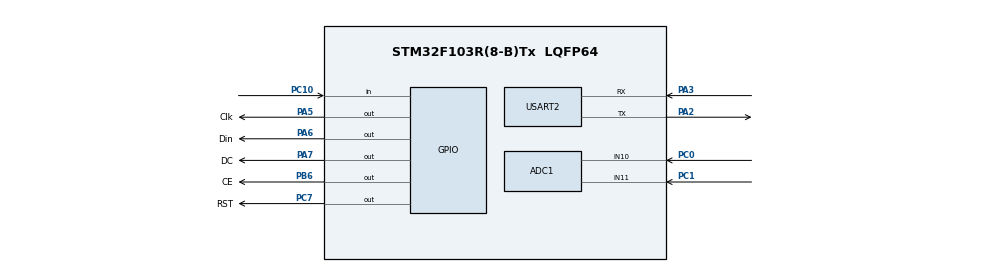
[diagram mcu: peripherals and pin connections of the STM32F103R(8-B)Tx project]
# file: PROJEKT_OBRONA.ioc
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ADC1.Channel-0\#ChannelRegularConversion=ADC_CHANNEL_10
ADC1.Channel-1\#ChannelRegularConversion=ADC_CHANNEL_11
ADC1.ExternalTrigConv=ADC_EXTERNALTRIGCONV_T3_TRGO
ADC1.NbrOfConversion=2
ADC1.NbrOfConversionFlag=1
ADC1.Rank-0\#ChannelRegularConversion=1
ADC1.Rank-1\#ChannelRegularConversion=2
ADC1.SamplingTime-0\#ChannelRegularConversion=ADC_SAMPLETIME_239CYCLES_5
ADC1.SamplingTime-1\#ChannelRegularConversion=ADC_SAMPLETIME_239CYCLES_5
ADC1.master=1
Dma.ADC1.0.Direction=DMA_PERIPH_TO_MEMORY
Dma.ADC1.0.Instance=DMA1_Channel1
Dma.ADC1.0.MemDataAlignment=DMA_MDATAALIGN_HALFWORD
Dma.ADC1.0.MemInc=DMA_MINC_ENABLE
Dma.ADC1.0.Mode=DMA_CIRCULAR
Dma.ADC1.0.PeriphDataAlignment=DMA_PDATAALIGN_HALFWORD
Dma.ADC1.0.PeriphInc=DMA_PINC_DISABLE
Dma.ADC1.0.Priority=DMA_PRIORITY_LOW
Dma.Request0=ADC1
Mcu.Family=STM32F1
Mcu.Name=STM32F103R(8-B)Tx
Mcu.Package=LQFP64
NVIC.DMA1_Channel1_IRQn=true\:0\:0\:false\:false\:true\:false\:true\:true
NVIC.PriorityGroup=NVIC_PRIORITYGROUP_4
NVIC.TIM2_IRQn=true\:0\:0\:false\:false\:true\:true\:true\:true
NVIC.USART2_IRQn=true\:0\:0\:false\:false\:true\:true\:true\:true
PA2.Mode=Asynchronous
PA2.Signal=USART2_TX
PA3.Mode=Asynchronous
PA3.Signal=USART2_RX
PA5.GPIO_Label=Clk
PA5.Signal=GPIO_Output
PA6.GPIO_Label=Din
PA6.Signal=GPIO_Output
PA7.GPIO_Label=DC
PA7.Signal=GPIO_Output
PB6.GPIO_Label=CE
PB6.Signal=GPIO_Output
PC0.Signal=SharedAnalog_PC0
PC1.Signal=SharedAnalog_PC1
PC10.Signal=GPIO_Input
PC7.GPIO_Label=RST
PC7.Signal=GPIO_Output
ProjectManager.HeapSize=0x200
ProjectManager.StackSize=0x400
ProjectManager.TargetToolchain=STM32CubeIDE
RCC.APB1Freq_Value=8000000
RCC.APB2Freq_Value=8000000
SH.SharedAnalog_PC0.0=GPIO_Analog
SH.SharedAnalog_PC0.1=ADC1_IN10,IN10
SH.SharedAnalog_PC1.0=GPIO_Analog
SH.SharedAnalog_PC1.1=ADC1_IN11,IN11
TIM2.Period=49
TIM2.Prescaler=7999
TIM2.TIM_MasterOutputTrigger=TIM_TRGO_UPDATE
TIM3.Channel-PWM\ Generation1\ No\ Output=TIM_CHANNEL_1
TIM3.Period=7999
TIM3.TIM_MasterOutputTrigger=TIM_TRGO_UPDATE
USART2.VirtualMode=VM_ASYNC
VP_SYS_VS_ND.Mode=No_Debug
VP_TIM2_VS_ClockSourceINT.Mode=Internal
VP_TIM3_VS_ClockSourceINT.Mode=Internal
VP_TIM3_VS_no_output1.Mode=PWM Generation1 No Output
board=custom

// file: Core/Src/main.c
/* USER CODE BEGIN Header */
/**
  ******************************************************************************
  * @file           : main.c
  * @brief          : Main program body
  ******************************************************************************
  * @attention
  *
  * Copyright (c) 2025 STMicroelectronics.
  * All rights reserved.
  *
  * This software is licensed under terms that can be found in the LICENSE file
  * in the root directory of this software component.
  * If no LICENSE file comes with this software, it is provided AS-IS.
  *
  ******************************************************************************
  */
/* USER CODE END Header */
#include "main.h"

/* USER CODE BEGIN Includes */
#include <stdlib.h>
#include <stdbool.h>
#include <string.h>
#include <stdio.h>
#include <stdarg.h>
#include "nokia5110_LCD.h"
/* USER CODE END Includes */

/* USER CODE BEGIN PTD */
typedef struct {
    uint8_t x;
    uint8_t y;
} Point;
/* USER CODE END PTD */

/* USER CODE BEGIN PD */
#define USART_TXBUF_LEN    1512
#define USART_RXBUF_LEN    512
#define FRAME_START        '['
#define FRAME_END          ']'
#define FRAME_MAX_LENGTH   500
#define CRC_INIT           0xFFFF

#define SNAKE_MAX_LENGTH 50
#define GRID_WIDTH  84
#define GRID_HEIGHT 48
/* USER CODE END PD */

ADC_HandleTypeDef hadc1;
DMA_HandleTypeDef hdma_adc1;

TIM_HandleTypeDef htim2;
TIM_HandleTypeDef htim3;

UART_HandleTypeDef huart2;

/* USER CODE BEGIN PV */
uint8_t USART_TxBuf[USART_TXBUF_LEN];
uint8_t USART_RxBuf[USART_RXBUF_LEN];

__IO int USART_TX_Empty = 0;
__IO int USART_TX_Busy = 0;
__IO int USART_RX_Empty = 0;
__IO int USART_RX_Busy = 0;

uint16_t joystick[2];

Point snake[SNAKE_MAX_LENGTH];
uint8_t snake_length = 3;

Point food;

Point direction = {1, 0};

bool game_over = false;

volatile int16_t snakeTimer = 0;
volatile int gameTimerState = 1;

typedef enum {
    WAITING_FOR_FRAME,
    COLLECTING_FRAME,
    ESCAPING_CHARACTER
} FrameState;

/* USER CODE END PV */

void SystemClock_Config(void);
static void MX_GPIO_Init(void);
static void MX_DMA_Init(void);
static void MX_ADC1_Init(void);
static void MX_USART2_UART_Init(void);
static void MX_TIM2_Init(void);
static void MX_TIM3_Init(void);
/* USER CODE BEGIN PFP */
uint8_t USART_kbhit(void);

int8_t USART_getchar(void);

void USART_fsend(char* format, ...);

uint16_t calculate_crc(const uint8_t *data, size_t length);

uint16_t ascii_to_uint16(const uint8_t *ascii_crc);

void uint16_to_ascii_hex(uint16_t value, char *output);

uint16_t computeFrameCRC(const char *sender, const char *receiver,
                         const char *command, const char *data);

void processCommand(const char *command, char *data);

void sendResponse(const char *sender, const char *receiver,
                  const char *command, const char *data);

void handleFrame(const uint8_t *frame, size_t length);

uint8_t* getFrame(size_t *outLength);

void sendErrorResponse(const char *receiver, const char *sender, const char *errorCode);

void generate_food(void);
void handle_joystick_input(void);
void move_snake(void);
bool check_collision(Point head);
void update_display(void);
/* USER CODE END PFP */

int main(void)
{

  /* MCU Configuration--------------------------------------------------------*/

  /* Reset of all peripherals, Initializes the Flash interface and the Systick. */
  HAL_Init();

  /* Configure the system clock */
  SystemClock_Config();

  /* Initialize all configured peripherals */
  MX_GPIO_Init();
  MX_DMA_Init();
  MX_ADC1_Init();
  MX_USART2_UART_Init();
  MX_TIM2_Init();
  MX_TIM3_Init();
  /* USER CODE BEGIN 2 */
  LCD_setRST(RST_GPIO_Port, RST_Pin);
      LCD_setCE(CE_GPIO_Port,   CE_Pin);
      LCD_setDC(DC_GPIO_Port,   DC_Pin);
      LCD_setDIN(GPIOA,         Din_Pin);
      LCD_setCLK(GPIOA,         Clk_Pin);
     LCD_init();
      LCD_clrScr();

      snake_length = 3;
      game_over    = false;
      direction.x  = 1;
      direction.y  = 0;

      snake[0].x = 40; snake[0].y = 24;
      snake[1].x = 39; snake[1].y = 24;
      snake[2].x = 38; snake[2].y = 24;

      // Jedzenie
      generate_food();

  HAL_UART_Receive_IT(&huart2, &USART_RxBuf[USART_RX_Empty], 1);

  HAL_TIM_Base_Start(&htim3);

  HAL_ADC_Start_DMA(&hadc1, (uint32_t*)joystick, 2);

  snakeTimer = 10;
  /* USER CODE END 2 */

  /* Infinite loop */
  /* USER CODE BEGIN WHILE */
  while (1)
  {

	     if (snakeTimer == 0)
	     {

	       if (gameTimerState == 1 && !game_over)
	       {
	         handle_joystick_input();
	         move_snake();
	         update_display();
	       }
	       else if (game_over)
	       {

	         LCD_clrScr();

	         LCD_refreshScr();

	         game_over    = false;
	         snake_length = 3;
	         direction.x  = 1;
	         direction.y  = 0;
	         snake[0].x   = 40; snake[0].y = 24;
	         snake[1].x   = 39; snake[1].y = 24;
	         snake[2].x   = 38; snake[2].y = 24;
	         generate_food();
	       }

	       // Niezależnie czy wąż rusza się, czy pauza – ustawiamy licznik znowu na 10
	       snakeTimer = 10;
	     }
	  size_t length = 0;
	      uint8_t *frame = getFrame(&length);
	      if (frame)
	      {

	          handleFrame(frame, length);
	      }
    /* USER CODE END WHILE */

  }
}

void SystemClock_Config(void)
{
  RCC_OscInitTypeDef RCC_OscInitStruct = {0};
  RCC_ClkInitTypeDef RCC_ClkInitStruct = {0};
  RCC_PeriphCLKInitTypeDef PeriphClkInit = {0};

  /** Initializes the RCC Oscillators according to the specified parameters
  * in the RCC_OscInitTypeDef structure.
  */
  RCC_OscInitStruct.OscillatorType = RCC_OSCILLATORTYPE_HSI;
  RCC_OscInitStruct.HSIState = RCC_HSI_ON;
  RCC_OscInitStruct.HSICalibrationValue = RCC_HSICALIBRATION_DEFAULT;
  RCC_OscInitStruct.PLL.PLLState = RCC_PLL_NONE;
  if (HAL_RCC_OscConfig(&RCC_OscInitStruct) != HAL_OK)
  {
    Error_Handler();
  }

  /** Initializes the CPU, AHB and APB buses clocks
  */
  RCC_ClkInitStruct.ClockType = RCC_CLOCKTYPE_HCLK|RCC_CLOCKTYPE_SYSCLK
                              |RCC_CLOCKTYPE_PCLK1|RCC_CLOCKTYPE_PCLK2;
  RCC_ClkInitStruct.SYSCLKSource = RCC_SYSCLKSOURCE_HSI;
  RCC_ClkInitStruct.AHBCLKDivider = RCC_SYSCLK_DIV1;
  RCC_ClkInitStruct.APB1CLKDivider = RCC_HCLK_DIV1;
  RCC_ClkInitStruct.APB2CLKDivider = RCC_HCLK_DIV1;

  if (HAL_RCC_ClockConfig(&RCC_ClkInitStruct, FLASH_LATENCY_0) != HAL_OK)
  {
    Error_Handler();
  }
  PeriphClkInit.PeriphClockSelection = RCC_PERIPHCLK_ADC;
  PeriphClkInit.AdcClockSelection = RCC_ADCPCLK2_DIV2;
  if (HAL_RCCEx_PeriphCLKConfig(&PeriphClkInit) != HAL_OK)
  {
    Error_Handler();
  }
}

static void MX_ADC1_Init(void)
{

  ADC_ChannelConfTypeDef sConfig = {0};

  /** Common config
  */
  hadc1.Instance = ADC1;
  hadc1.Init.ScanConvMode = ADC_SCAN_ENABLE;
  hadc1.Init.ContinuousConvMode = DISABLE;
  hadc1.Init.DiscontinuousConvMode = DISABLE;
  hadc1.Init.ExternalTrigConv = ADC_EXTERNALTRIGCONV_T3_TRGO;
  hadc1.Init.DataAlign = ADC_DATAALIGN_RIGHT;
  hadc1.Init.NbrOfConversion = 2;
  if (HAL_ADC_Init(&hadc1) != HAL_OK)
  {
    Error_Handler();
  }

  /** Configure Regular Channel
  */
  sConfig.Channel = ADC_CHANNEL_10;
  sConfig.Rank = ADC_REGULAR_RANK_1;
  sConfig.SamplingTime = ADC_SAMPLETIME_239CYCLES_5;
  if (HAL_ADC_ConfigChannel(&hadc1, &sConfig) != HAL_OK)
  {
    Error_Handler();
  }

  /** Configure Regular Channel
  */
  sConfig.Channel = ADC_CHANNEL_11;
  sConfig.Rank = ADC_REGULAR_RANK_2;
  if (HAL_ADC_ConfigChannel(&hadc1, &sConfig) != HAL_OK)
  {
    Error_Handler();
  }

}

static void MX_TIM2_Init(void)
{

  TIM_ClockConfigTypeDef sClockSourceConfig = {0};
  TIM_MasterConfigTypeDef sMasterConfig = {0};

  htim2.Instance = TIM2;
  htim2.Init.Prescaler = 7999;
  htim2.Init.CounterMode = TIM_COUNTERMODE_UP;
  htim2.Init.Period = 49;
  htim2.Init.ClockDivision = TIM_CLOCKDIVISION_DIV1;
  htim2.Init.AutoReloadPreload = TIM_AUTORELOAD_PRELOAD_DISABLE;
  if (HAL_TIM_Base_Init(&htim2) != HAL_OK)
  {
    Error_Handler();
  }
  sClockSourceConfig.ClockSource = TIM_CLOCKSOURCE_INTERNAL;
  if (HAL_TIM_ConfigClockSource(&htim2, &sClockSourceConfig) != HAL_OK)
  {
    Error_Handler();
  }
  sMasterConfig.MasterOutputTrigger = TIM_TRGO_UPDATE;
  sMasterConfig.MasterSlaveMode = TIM_MASTERSLAVEMODE_DISABLE;
  if (HAL_TIMEx_MasterConfigSynchronization(&htim2, &sMasterConfig) != HAL_OK)
  {
    Error_Handler();
  }

}

static void MX_TIM3_Init(void)
{

  TIM_ClockConfigTypeDef sClockSourceConfig = {0};
  TIM_MasterConfigTypeDef sMasterConfig = {0};
  TIM_OC_InitTypeDef sConfigOC = {0};

  htim3.Instance = TIM3;
  htim3.Init.Prescaler = 0;
  htim3.Init.CounterMode = TIM_COUNTERMODE_UP;
  htim3.Init.Period = 7999;
  htim3.Init.ClockDivision = TIM_CLOCKDIVISION_DIV1;
  htim3.Init.AutoReloadPreload = TIM_AUTORELOAD_PRELOAD_DISABLE;
  if (HAL_TIM_Base_Init(&htim3) != HAL_OK)
  {
    Error_Handler();
  }
  sClockSourceConfig.ClockSource = TIM_CLOCKSOURCE_INTERNAL;
  if (HAL_TIM_ConfigClockSource(&htim3, &sClockSourceConfig) != HAL_OK)
  {
    Error_Handler();
  }
  if (HAL_TIM_PWM_Init(&htim3) != HAL_OK)
  {
    Error_Handler();
  }
  sMasterConfig.MasterOutputTrigger = TIM_TRGO_UPDATE;
  sMasterConfig.MasterSlaveMode = TIM_MASTERSLAVEMODE_DISABLE;
  if (HAL_TIMEx_MasterConfigSynchronization(&htim3, &sMasterConfig) != HAL_OK)
  {
    Error_Handler();
  }
  sConfigOC.OCMode = TIM_OCMODE_PWM1;
  sConfigOC.Pulse = 0;
  sConfigOC.OCPolarity = TIM_OCPOLARITY_HIGH;
  sConfigOC.OCFastMode = TIM_OCFAST_DISABLE;
  if (HAL_TIM_PWM_ConfigChannel(&htim3, &sConfigOC, TIM_CHANNEL_1) != HAL_OK)
  {
    Error_Handler();
  }

}

static void MX_USART2_UART_Init(void)
{

  huart2.Instance = USART2;
  huart2.Init.BaudRate = 115200;
  huart2.Init.WordLength = UART_WORDLENGTH_8B;
  huart2.Init.StopBits = UART_STOPBITS_1;
  huart2.Init.Parity = UART_PARITY_NONE;
  huart2.Init.Mode = UART_MODE_TX_RX;
  huart2.Init.HwFlowCtl = UART_HWCONTROL_NONE;
  huart2.Init.OverSampling = UART_OVERSAMPLING_16;
  if (HAL_UART_Init(&huart2) != HAL_OK)
  {
    Error_Handler();
  }

}

static void MX_DMA_Init(void)
{

  /* DMA controller clock enable */
  __HAL_RCC_DMA1_CLK_ENABLE();

  /* DMA interrupt init */
  /* DMA1_Channel1_IRQn interrupt configuration */
  HAL_NVIC_SetPriority(DMA1_Channel1_IRQn, 0, 0);
  HAL_NVIC_EnableIRQ(DMA1_Channel1_IRQn);

}

static void MX_GPIO_Init(void)
{
  GPIO_InitTypeDef GPIO_InitStruct = {0};

  /* GPIO Ports Clock Enable */
  __HAL_RCC_GPIOC_CLK_ENABLE();
  __HAL_RCC_GPIOA_CLK_ENABLE();
  __HAL_RCC_GPIOB_CLK_ENABLE();

  /*Configure GPIO pin Output Level */
  HAL_GPIO_WritePin(GPIOA, Clk_Pin|Din_Pin|DC_Pin, GPIO_PIN_RESET);

  /*Configure GPIO pin Output Level */
  HAL_GPIO_WritePin(RST_GPIO_Port, RST_Pin, GPIO_PIN_RESET);

  /*Configure GPIO pin Output Level */
  HAL_GPIO_WritePin(CE_GPIO_Port, CE_Pin, GPIO_PIN_RESET);

  /*Configure GPIO pins : Clk_Pin Din_Pin DC_Pin */
  GPIO_InitStruct.Pin = Clk_Pin|Din_Pin|DC_Pin;
  GPIO_InitStruct.Mode = GPIO_MODE_OUTPUT_PP;
  GPIO_InitStruct.Pull = GPIO_NOPULL;
  GPIO_InitStruct.Speed = GPIO_SPEED_FREQ_LOW;
  HAL_GPIO_Init(GPIOA, &GPIO_InitStruct);

  /*Configure GPIO pin : RST_Pin */
  GPIO_InitStruct.Pin = RST_Pin;
  GPIO_InitStruct.Mode = GPIO_MODE_OUTPUT_PP;
  GPIO_InitStruct.Pull = GPIO_NOPULL;
  GPIO_InitStruct.Speed = GPIO_SPEED_FREQ_LOW;
  HAL_GPIO_Init(RST_GPIO_Port, &GPIO_InitStruct);

  /*Configure GPIO pin : PC10 */
  GPIO_InitStruct.Pin = GPIO_PIN_10;
  GPIO_InitStruct.Mode = GPIO_MODE_INPUT;
  GPIO_InitStruct.Pull = GPIO_PULLUP;
  HAL_GPIO_Init(GPIOC, &GPIO_InitStruct);

  /*Configure GPIO pin : CE_Pin */
  GPIO_InitStruct.Pin = CE_Pin;
  GPIO_InitStruct.Mode = GPIO_MODE_OUTPUT_PP;
  GPIO_InitStruct.Pull = GPIO_NOPULL;
  GPIO_InitStruct.Speed = GPIO_SPEED_FREQ_LOW;
  HAL_GPIO_Init(CE_GPIO_Port, &GPIO_InitStruct);

}

/* USER CODE BEGIN 4 */
void generate_food(void)
{
  bool valid;
  do {
    valid = true;
    food.x = rand() % GRID_WIDTH;
    food.y = rand() % GRID_HEIGHT;
    for (uint8_t i = 0; i < snake_length; i++)
    {
      if (snake[i].x == food.x && snake[i].y == food.y)
      {
        valid = false;
        break;
      }
    }
  } while (!valid);
}

void move_snake(void)
{
  Point new_head = { snake[0].x + direction.x, snake[0].y + direction.y };
  if (check_collision(new_head))
  {
    game_over = true;
    return;
  }
  if (new_head.x == food.x && new_head.y == food.y)
  {
    snake_length++;
    generate_food();
  }
  for (int i = snake_length - 1; i > 0; i--)
  {
    snake[i] = snake[i - 1];
  }
  snake[0] = new_head;
}

bool check_collision(Point head)
{
  if (head.x >= GRID_WIDTH || head.y >= GRID_HEIGHT)
    return true;
  for (uint8_t i = 0; i < snake_length; i++)
  {
    if (head.x == snake[i].x && head.y == snake[i].y)
      return true;
  }
  return false;
}

void update_display(void)
{
  LCD_clrScr();
  LCD_setPixel(food.x, food.y, true);
  for (uint8_t i = 0; i < snake_length; i++)
  {
    LCD_setPixel(snake[i].x, snake[i].y, true);
  }
  LCD_refreshScr();
}

void handle_joystick_input(void)
{

  if (joystick[0] < 1500 && direction.y == 0)
  {
    // "dół"
    direction.x = 0;
    direction.y = 1;
  }
  else if (joystick[0] > 2500 && direction.y == 0)
  {
    // "góra"
    direction.x = 0;
    direction.y = -1;
  }

  else if (joystick[1] < 1500 && direction.x == 0)
  {
    direction.x = -1;
    direction.y = 0;
  }
  else if (joystick[1] > 2500 && direction.x == 0)
  {
    direction.x = 1;
    direction.y = 0;
  }
}

uint8_t USART_kbhit(void)
{
  if (USART_RX_Empty == USART_RX_Busy) {
    return 0;
  } else {
    return 1;
  }
}

int8_t USART_getchar(void)
{
  if (USART_RX_Empty != USART_RX_Busy) {
    int8_t tmp = USART_RxBuf[USART_RX_Busy];
    USART_RX_Busy++;
    if (USART_RX_Busy >= USART_RXBUF_LEN) {
      USART_RX_Busy = 0;
    }
    return tmp;
  }
  return -1;
}

void USART_fsend(char* format, ...)
{
  char tmp_rs[220];
  int i;
  __IO int idx;
  va_list arglist;

  va_start(arglist, format);
  vsprintf(tmp_rs, format, arglist);
  va_end(arglist);

  idx = USART_TX_Empty;
  for (i = 0; i < (int)strlen(tmp_rs); i++) {
    USART_TxBuf[idx] = (uint8_t)tmp_rs[i];
    idx++;
    if (idx >= USART_TXBUF_LEN) idx = 0;
  }

  __disable_irq();
  if ((USART_TX_Empty == USART_TX_Busy) &&
      (__HAL_UART_GET_FLAG(&huart2, UART_FLAG_TXE) == SET)) {
    USART_TX_Empty = idx;
    uint8_t tmp = USART_TxBuf[USART_TX_Busy];
    USART_TX_Busy++;
    if (USART_TX_Busy >= USART_TXBUF_LEN) USART_TX_Busy = 0;
    HAL_UART_Transmit_IT(&huart2, &tmp, 1);
  } else {
    USART_TX_Empty = idx;
  }
  __enable_irq();
}

void HAL_UART_TxCpltCallback(UART_HandleTypeDef *huart)
{
  if (huart == &huart2) {
    if (USART_TX_Empty != USART_TX_Busy) {
      uint8_t tmp = USART_TxBuf[USART_TX_Busy];
      USART_TX_Busy++;
      if (USART_TX_Busy >= USART_TXBUF_LEN) USART_TX_Busy = 0;
      HAL_UART_Transmit_IT(&huart2, &tmp, 1);
    }
  }
}

void HAL_UART_RxCpltCallback(UART_HandleTypeDef *huart)
{
  if (huart == &huart2) {
    USART_RX_Empty++;
    if (USART_RX_Empty >= USART_RXBUF_LEN) USART_RX_Empty = 0;
    HAL_UART_Receive_IT(&huart2, &USART_RxBuf[USART_RX_Empty], 1);
  }
}

uint16_t calculate_crc(const uint8_t *data, size_t length)
{
  uint16_t crc = CRC_INIT;
  for (size_t i = 0; i < length; i++) {
    crc ^= (data[i] & 0x00FF);
    for (int bit = 0; bit < 8; bit++) {
      if (crc & 0x0001) {
        crc = (crc >> 1) ^ 0xA001;
      } else {
        crc >>= 1;
      }
    }
  }
  return crc;
}

uint16_t ascii_to_uint16(const uint8_t *ascii_crc)
{
  char buffer[5] = {0};
  memcpy(buffer, ascii_crc, 4);
  return (uint16_t)strtol(buffer, NULL, 16);
}

void uint16_to_ascii_hex(uint16_t value, char *output)
{
  sprintf(output, "%04X", value);
}

uint16_t computeFrameCRC(const char *sender, const char *receiver,
                         const char *command, const char *data)
{
    char buf[256];
    int len = snprintf(buf, sizeof(buf), "%s%s%s%s",
                       sender, receiver, command, data);
    if (len < 0 || len >= (int)sizeof(buf)) {
        // obsługa błędu
        return 0;
    }
    return calculate_crc((uint8_t*)buf, (size_t)len);
}

/* ----------------- Logika komend ------------------------ */
void processCommand(const char *command, char *data)
{

    memset(data, 0, 100);

    if ( (memcmp(command, "STOP", 4) == 0) && (command[4] == '\0') )
    {

        gameTimerState = -1;
        sprintf(data, "PAUSED");
    }

    else if ( (memcmp(command, "RESUME", 6) == 0) && (command[6] == '\0') )
    {

        gameTimerState = 1;
        sprintf(data, "STARTED");
    }

    else if ( (memcmp(command, "BTNSTATE", 8) == 0) && (command[8] == '\0') )
    {

        GPIO_PinState pinState = HAL_GPIO_ReadPin(GPIOC, GPIO_PIN_10);

        if (pinState == GPIO_PIN_RESET)
        {

            sprintf(data, "BTN1");
        }
        else
        {

            sprintf(data, "BTN0");
        }
    }

    else if ( (memcmp(command, "POS", 3) == 0) && (command[3] == '\0') )
    {

        sprintf(data, "X%uY%u", (unsigned int)joystick[0], (unsigned int)joystick[1]);
    }

    else
    {

        sprintf(data, "INVALID_COMMAND");
    }
}
void sendResponse(const char *sender, const char *receiver,
                  const char *command, const char *data)
{

    uint16_t crcVal = computeFrameCRC(sender, receiver, command, data);
    char crcAscii[5];
    uint16_to_ascii_hex(crcVal, crcAscii);

    char frameCore[220];

    int coreLen = snprintf(frameCore, sizeof(frameCore),
                           "%s%s%s%s", sender, receiver, command, data);

    if (coreLen < 0 || coreLen > (FRAME_MAX_LENGTH - 6))
    {

        return;
    }

    char fullFrame[250];
    int ffLen = snprintf(fullFrame, sizeof(fullFrame),
                         "[%s%s]", frameCore, crcAscii);
    if (ffLen < 0 || ffLen >= (int)sizeof(fullFrame))
    {

        return;
    }

    USART_fsend("%s", fullFrame);
}

void sendErrorResponse(const char *receiver, const char *sender, const char *errorCode)
{

    sendResponse(receiver, sender, errorCode, "");
}

void handleFrame(const uint8_t *frame, size_t length)
{
    if (length < 10)
    {

        return;
    }

    char asciiCrc[5];
    memcpy(asciiCrc, &frame[length - 5], 4);
    asciiCrc[4] = '\0';

    int coreLen = (int)length - 6;
    if (coreLen < 0)
    {
        return;
    }

    char coreBuf[256];
    memcpy(coreBuf, &frame[1], coreLen);
    coreBuf[coreLen] = '\0'; // NUL-terminacja

    char sender[3];
    memcpy(sender, coreBuf, 2);
    sender[2] = '\0';

    char receiver[3];
    memcpy(receiver, &coreBuf[2], 2);
    receiver[2] = '\0';

    if (memcmp(receiver, "MC", 2) != 0)
    {

        sendErrorResponse("MC", sender, "INVALID_RECEIVER");
        return;
    }

    const char *pCmdData = &coreBuf[4];

    char command[11];
    int i = 0;
    while ((pCmdData[i] >= 'A') && (pCmdData[i] <= 'Z') && (i < 10))
    {
        command[i] = pCmdData[i];
        i++;
    }
    command[i] = '\0';

    const char *data = "";

    uint16_t calcCrc = computeFrameCRC(sender, receiver, command, data);

    char calcCrcStr[5];
    uint16_to_ascii_hex(calcCrc, calcCrcStr);

    if (memcmp(asciiCrc, calcCrcStr, 4) != 0)
    {
        sendErrorResponse("MC", sender, "INVALID_CRC");
        return;
    }

    char outData[100];
    processCommand(command, outData);

    sendResponse(receiver, sender, command, outData);
}

uint8_t* getFrame(size_t *outLength)
{
    static uint8_t  frameBuf[FRAME_MAX_LENGTH];
    static uint16_t frameLen       = 0;
    static FrameState frameState   = WAITING_FOR_FRAME;

    while (USART_kbhit())
    {
        char c = (char)USART_getchar();
        if (c < 0)
        {
            // Błąd/brak znaku
            return NULL;
        }

        switch (frameState)
        {
        case WAITING_FOR_FRAME:
            // Czekamy na '[' aby rozpocząć ramkę
            if (c == '[')
            {
                frameState    = COLLECTING_FRAME;
                frameLen      = 0;
                frameBuf[frameLen++] = '[';
            }
            // Inne znaki poza ramką ignorujemy
            break;

        case COLLECTING_FRAME:
            if (c == '\\')
            {
                // Używamy sekwencji escape
                frameState = ESCAPING_CHARACTER;
            }
            else if (c == '[')
            {
                // Nowy '[' w trakcie ramki => reset i zaczynamy od nowa
                frameLen = 0;
                frameBuf[frameLen++] = '[';
            }
            else if (c == ']')
            {
                // Koniec ramki
                if (frameLen < FRAME_MAX_LENGTH - 1)
                {
                    frameBuf[frameLen++] = ']';
                    frameBuf[frameLen]   = '\0';  // Terminator
                    *outLength           = frameLen;

                    // Reset stanu do następnej ramki
                    frameState = WAITING_FOR_FRAME;
                    return frameBuf;  // Zwracamy gotową ramkę
                }
                else
                {
                    // Przepełnienie -> porzucamy ramkę
                    frameState = WAITING_FOR_FRAME;
                    frameLen   = 0;
                }
            }
            else
            {
                // Zwykły znak wewnątrz ramki
                if (frameLen < FRAME_MAX_LENGTH - 1)
                {
                    frameBuf[frameLen++] = (uint8_t)c;
                }
                else
                {
                    // Przepełnienie
                    frameState = WAITING_FOR_FRAME;
                    frameLen   = 0;
                }
            }
            break;

        case ESCAPING_CHARACTER:
        {
            // Interpretujemy znak po '\'
            char decoded;
            switch (c)
            {
            case '1':  decoded = '['; break;
            case '2':  decoded = ']'; break;
            case '3':  decoded = '\\'; break;
            default:
                // Nieznana sekwencja -> porzucamy ramkę
                frameState = WAITING_FOR_FRAME;
                frameLen   = 0;
                continue;
            }

            // Wracamy do COLLECTING_FRAME
            frameState = COLLECTING_FRAME;

            // Dodajemy zdekodowany znak do bufora
            if (frameLen < FRAME_MAX_LENGTH - 1)
            {
                frameBuf[frameLen++] = (uint8_t)decoded;
            }
            else
            {
                // Przepełnienie
                frameState = WAITING_FOR_FRAME;
                frameLen   = 0;
            }
            break;
        }

        default:
            // Bezpieczny reset
            frameState = WAITING_FOR_FRAME;
            frameLen   = 0;
            break;
        }
    }

    // Brak pełnej ramki - NULL
    return NULL;
}
/* USER CODE END 4 */

void Error_Handler(void)
{
  __disable_irq();
  while (1)
  {
  }
}
